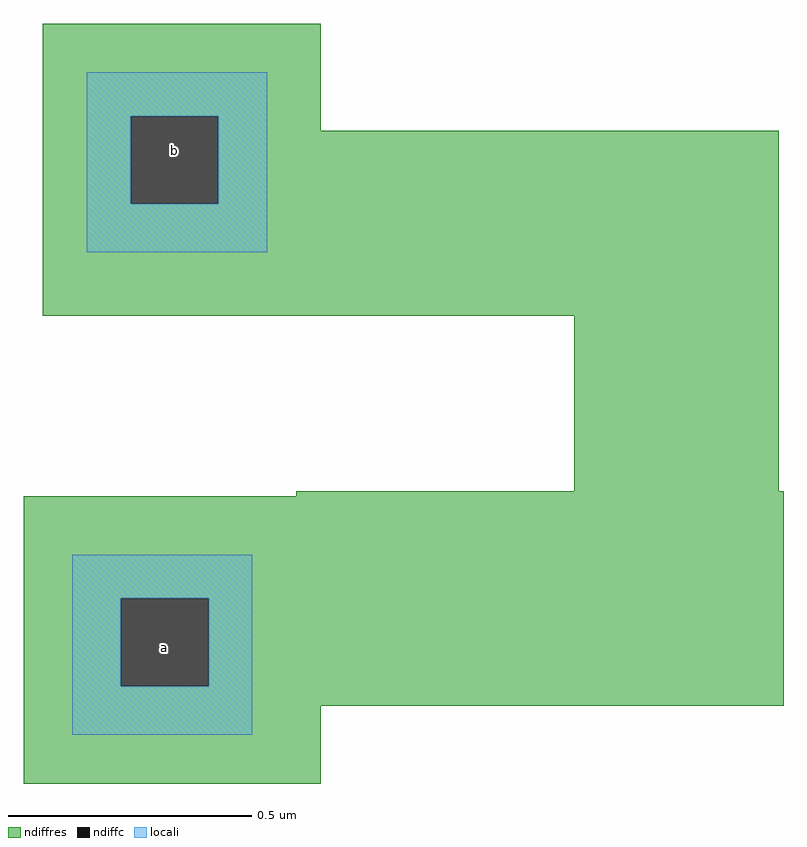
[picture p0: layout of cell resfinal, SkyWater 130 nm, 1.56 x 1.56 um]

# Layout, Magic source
magic
tech sky130A
<< ndiffc >>
rect -46 16 -28 34
rect -48 -83 -30 -65
<< ndiffres >>
rect -64 34 -7 53
rect -64 16 -46 34
rect -28 31 -7 34
rect -28 16 87 31
rect -64 -7 87 16
rect 45 -43 87 -7
rect -12 -44 88 -43
rect -68 -65 88 -44
rect -68 -83 -48 -65
rect -30 -83 88 -65
rect -68 -87 88 -83
rect -68 -103 -7 -87
<< locali >>
rect -55 34 -18 43
rect -55 16 -46 34
rect -28 16 -18 34
rect -55 6 -18 16
rect -58 -65 -21 -56
rect -58 -83 -48 -65
rect -30 -83 -21 -65
rect -58 -93 -21 -83
<< labels >>
rlabel ndiffc -37 27 -37 27 1 b
rlabel ndiffc -39 -75 -39 -75 3 a
<< end >>
